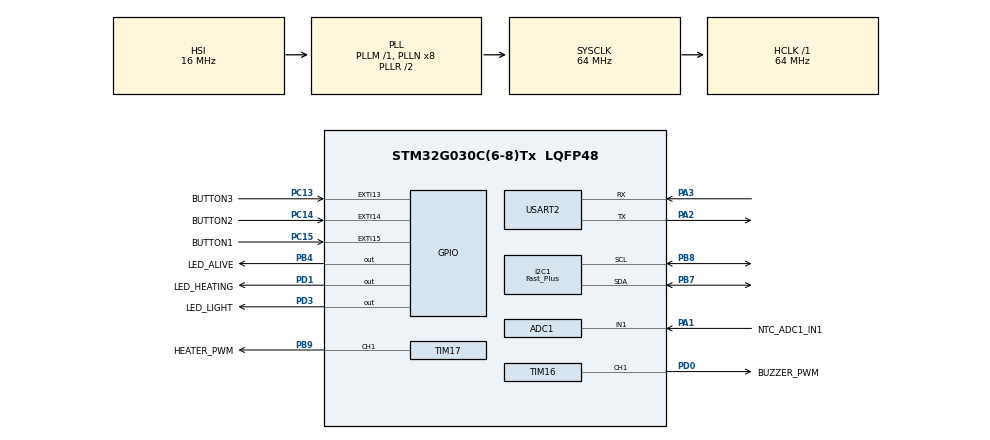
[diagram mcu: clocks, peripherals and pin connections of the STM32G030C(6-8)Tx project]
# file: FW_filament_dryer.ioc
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ADC1.Channel-0\#ChannelRegularConversion=ADC_CHANNEL_1
ADC1.ClockPrescaler=ADC_CLOCK_SYNC_PCLK_DIV2
ADC1.ContinuousConvMode=DISABLE
ADC1.NbrOfConversionFlag=1
ADC1.Rank-0\#ChannelRegularConversion=1
ADC1.SamplingTime-0\#ChannelRegularConversion=ADC_SAMPLINGTIME_COMMON_1
ADC1.SamplingTimeCommon1=ADC_SAMPLETIME_160CYCLES_5
ADC1.SamplingTimeCommon2=ADC_SAMPLETIME_160CYCLES_5
ADC1.SelectedChannel=ADC_CHANNEL_1
ADC1.master=1
I2C1.I2C_Speed_Mode=I2C_Fast_Plus
I2C1.Timing=0x00910B1C
Mcu.Family=STM32G0
Mcu.Name=STM32G030C(6-8)Tx
Mcu.Package=LQFP48
NVIC.EXTI4_15_IRQn=true\:0\:0\:false\:false\:true\:true\:true\:true
NVIC.TIM17_IRQn=true\:0\:0\:false\:false\:true\:true\:true\:true
NVIC.TIM3_IRQn=true\:0\:0\:false\:false\:true\:true\:true\:true
PA1.GPIO_Label=NTC_ADC1_IN1
PA1.Mode=IN1
PA1.Signal=ADC1_IN1
PA13.Mode=Serial_Wire
PA13.Signal=SYS_SWDIO
PA14-BOOT0.Mode=Serial_Wire
PA14-BOOT0.Signal=SYS_SWCLK
PA2.Mode=Asynchronous
PA2.Signal=USART2_TX
PA3.Mode=Asynchronous
PA3.Signal=USART2_RX
PB4.GPIO_Label=LED_ALIVE
PB4.Signal=GPIO_Output
PB7.Mode=I2C
PB7.Signal=I2C1_SDA
PB8.Mode=I2C
PB8.Signal=I2C1_SCL
PB9.GPIO_Label=HEATER_PWM
PB9.Signal=S_TIM17_CH1
PC13.GPIO_Label=BUTTON3
PC13.GPIO_ModeDefaultEXTI=GPIO_MODE_IT_RISING_FALLING
PC13.Signal=GPXTI13
PC14-OSC32_IN\ (PC14).GPIO_Label=BUTTON2
PC14-OSC32_IN\ (PC14).GPIO_ModeDefaultEXTI=GPIO_MODE_IT_RISING_FALLING
PC14-OSC32_IN\ (PC14).Signal=GPXTI14
PC15-OSC32_OUT\ (PC15).GPIO_Label=BUTTON1
PC15-OSC32_OUT\ (PC15).GPIO_ModeDefaultEXTI=GPIO_MODE_IT_RISING_FALLING
PC15-OSC32_OUT\ (PC15).Signal=GPXTI15
PD0.GPIO_Label=BUZZER_PWM
PD0.Signal=S_TIM16_CH1
PD1.GPIO_Label=LED_HEATING
PD1.Signal=GPIO_Output
PD3.GPIO_Label=LED_LIGHT
PD3.Signal=GPIO_Output
ProjectManager.HeapSize=0x200
ProjectManager.StackSize=0x400
ProjectManager.TargetToolchain=STM32CubeIDE
RCC.ADCFreq_Value=64000000
RCC.AHBFreq_Value=64000000
RCC.CortexFreq_Value=64000000
RCC.EXTERNAL_CLOCK_VALUE=12288000
RCC.HCLKFreq_Value=64000000
RCC.HSE_VALUE=8000000
RCC.HSI_VALUE=16000000
RCC.LSE_VALUE=32768
RCC.SYSCLKFreq_VALUE=64000000
RCC.SYSCLKSource=RCC_SYSCLKSOURCE_PLLCLK
RCC.VCOOutputFreq_Value=128000000
SH.S_TIM16_CH1.0=TIM16_CH1,PWM Generation1 CH1
SH.S_TIM17_CH1.0=TIM17_CH1,PWM Generation1 CH1
TIM16.Channel=TIM_CHANNEL_1
TIM16.Period=1000-1
TIM16.Prescaler=16-1
TIM17.Channel=TIM_CHANNEL_1
TIM17.Period=256-1
TIM17.Prescaler=64000-1
TIM3.Period=2000
TIM3.Prescaler=64000-1
USART2.VirtualMode-Asynchronous=VM_ASYNC
VP_TIM16_VS_ClockSourceINT.Mode=Enable_Timer
VP_TIM17_VS_ClockSourceINT.Mode=Enable_Timer
VP_TIM3_VS_ClockSourceINT.Mode=Internal
board=custom

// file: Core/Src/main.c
/* USER CODE BEGIN Header */
/**
 ******************************************************************************
 * @file           : main.c
 * @brief          : Main program body
 ******************************************************************************
 * @attention
 *
 * Copyright (c) 2025 STMicroelectronics.
 * All rights reserved.
 *
 * This software is licensed under terms that can be found in the LICENSE file
 * in the root directory of this software component.
 * If no LICENSE file comes with this software, it is provided AS-IS.
 *
 ******************************************************************************
 */
/* USER CODE END Header */
#include "main.h"
#include "adc.h"
#include "i2c.h"
#include "tim.h"
#include "usart.h"
#include "gpio.h"

/* USER CODE BEGIN Includes */
#include <string.h>

#include "MyCode/config.h"
#include "Libraries/Display/ssd1306.h"
#include "MyCode/display.h"
#include "Libraries/temperature.h"
#include "MyCode/materials.h"
#include "MyCode/buttons.h"
#include "MyCode/buzzer.h"
#include "MyCode/pid.h"
#include "MyCode/settings.h"
/* USER CODE END Includes */

/* USER CODE BEGIN PV */
/* TIMERS */
uint32_t timerLedAlive = 0;
uint32_t timerDisplayUpdate = 0;
uint32_t timerTempRead = 0;
uint32_t timerTimer = 10000; // not zero to make the first popup at the startup of the device

/* MENUS */
volatile uint8_t currentMenu = MENU_HOME; // active menu (starts with the home menu)

/* MATERIALS */
volatile uint8_t currentMaterialID;

/* TIMER */
volatile uint16_t minutesLeft = 0;	// 2h10m

/* TEMPERATURE CONTROL */
volatile float kp = 20.0f;
volatile float ki = 1.0f;
volatile float kd = 0.2f;
uint8_t runPid = 0;	// 1 if pid must be run
volatile uint8_t duty = 0;
volatile uint8_t heaterOn = 0;
/* USER CODE END PV */

void SystemClock_Config(void);

int main(void) {

	/* MCU Configuration--------------------------------------------------------*/

	/* Reset of all peripherals, Initializes the Flash interface and the Systick. */
	HAL_Init();

	/* Configure the system clock */
	SystemClock_Config();

	/* Initialize all configured peripherals */
	MX_GPIO_Init();
	MX_ADC1_Init();
	MX_I2C1_Init();
	MX_USART2_UART_Init();
	MX_TIM16_Init();
	MX_TIM3_Init();
	MX_TIM17_Init();
	/* USER CODE BEGIN 2 */
	/* -------------------------------- INITIALIZATIONS -------------------------------- */
	/* DISPLAY INIT*/
	ssd1306_Init();
	/* ADC INIT */
	HAL_Delay(50);
	HAL_ADCEx_Calibration_Start(&hadc1);
	HAL_Delay(50);
	HAL_ADC_Init(&hadc1);
	/* BUTTONS INIT */
	initButtons();
	/* UART INIT */
	HAL_UART_Init(&huart2);
	/* MATERIALS */
	MATERIAL_initMaterials();
	currentMaterialID = MATERIAL_ID_PLA;
	/* BUZZER INIT */
	HAL_TIM_Base_Init(&htim16);
	HAL_TIM_PWM_Start(&htim16, TIM_CHANNEL_1);
	TIM16->CCR1 = 0;
	/* HEATER INIT */
	HAL_TIM_Base_Init(&htim17);
	HAL_TIM_Base_Start_IT(&htim17);
	HAL_TIM_PWM_Start_IT(&htim17, TIM_CHANNEL_1);
	setDuty(0);
	/* INIT 500ms PID TIMER */
	HAL_TIM_Base_Init(&htim3);
	HAL_TIM_Base_Start_IT(&htim3);
	/* LOAD SETTINGS FROM EEPROM */
	HAL_Delay(2000);	// otherwise the serial debug will not work
	if (read_byte_eeprom(EEPROM_ISFIRSTBOOT_ADDRESS) != FIRST_TIME_EEPROM_VALUE) {// if this is the first time eeprom is written or is empty, write the default settings
		printString("First boot, or eeprom was empty\n");
		storeSettingsToEeprom(kp, ki, kd);	// store settings

		loadSettingsFromEeprom(&kp, &ki, &kd);	// than read settings for a check
		uint8_t message[100];
		sprintf(message, "Stored default kp, ki, kd value (%f, %f, %f)\n", kp, ki, kd);
		printString(message);
		write_byte_eeprom(EEPROM_ISFIRSTBOOT_ADDRESS, FIRST_TIME_EEPROM_VALUE);
		printString("Now the eeprom was initialized the first time\n");
	} else {
		loadSettingsFromEeprom(&kp, &ki, &kd);
		uint8_t message[100];
		sprintf(message, "Loaded kp, ki, kd value from eeprom (%f, %f, %f)\n", kp, ki, kd);
		printString(message);
	}

	/* USER CODE END 2 */

	/* Infinite loop */
	/* USER CODE BEGIN WHILE */
	while (1) {
		/* BUTTON CODE */
		uint8_t relase = BUTTONS_tick();

		/* TEMPERATURE CODE */
		float realTemp = getTemperature();	// caluclate the real temp

		/* TIMER CHECK */
		if (minutesLeft <= 0) {
			minutesLeft = 0;
			heaterOn = 0;
			// make some noise, repeat for some time than do nothing !!! NOISE MADE ON THE PERIOD ROUTIN !!!
		} else {
			heaterOn = 1;
		}

		if (heaterOn) {
			HAL_GPIO_WritePin(LED_LIGHT_GPIO_Port, LED_LIGHT_Pin, 1);	// turn on the light
			if (runPid) {	// run the pid control every 500ms
				duty = pid_control(kp, ki, kd, MATERIAL_getMaterialTargetTemp(currentMaterialID), realTemp, UINT8_MAX);
				setDuty(duty);
				runPid = 0;
			}
		} else {
			HAL_GPIO_WritePin(LED_LIGHT_GPIO_Port, LED_LIGHT_Pin, 0); // turn off the light
			duty = 0;
			setDuty(duty);
		}

		/* USER CODE END WHILE */

		/* USER CODE BEGIN 3 */

		/* DISPLAY UPDATE */
		if (HAL_GetTick() - timerTimer >= MINUTES_STEP * 60 * 1000) {
			//if (HAL_GetTick() - timerTimer >= 10000) {// decrement every 10seconds for testing
			if (minutesLeft - MINUTES_STEP == 0 || minutesLeft <= 0) {
				minutesLeft = 0;
				// display the popup
				ssd1306_Fill(Black);
				DISPLAY_PrintStrLarge("TIME OVER", 14, 0);
				DISPLAY_PrintStrMedium("Set new time!", 18, 22);
				ssd1306_UpdateScreen();
				// make some sound
				BUZZER_shortPressBeep();
				BUZZER_shortPressBeep();
				HAL_Delay(200);
				BUZZER_shortPressBeep();
				BUZZER_shortPressBeep();
				HAL_Delay(200);
				BUZZER_shortPressBeep();
				BUZZER_shortPressBeep();
				HAL_Delay(200);
				BUZZER_shortPressBeep();
				BUZZER_shortPressBeep();
				HAL_Delay(1000);
				BUZZER_shortPressBeep();
				BUZZER_shortPressBeep();
				HAL_Delay(200);
				BUZZER_shortPressBeep();
				BUZZER_shortPressBeep();
				HAL_Delay(200);
				BUZZER_shortPressBeep();
				BUZZER_shortPressBeep();
				HAL_Delay(200);
				BUZZER_shortPressBeep();
				BUZZER_shortPressBeep();
				HAL_Delay(1000);
			} else {
				minutesLeft -= MINUTES_STEP;
				BUZZER_longPressBeep();
			}
			timerTimer = HAL_GetTick();
		}
		if (HAL_GetTick() - timerDisplayUpdate >= 1000 / DISPLAY_FPS) {
			DISPLAY_drawMenu(currentMenu, currentMaterialID, realTemp, minutesLeft, duty);

			if (relase) {
				DISPLAY_PrintStrSmall("RELASE", 50, 24);
			}

			ssd1306_UpdateScreen();
			timerDisplayUpdate = HAL_GetTick();
		}
		/* LED ALIVE BLINK */
		if (HAL_GetTick() - timerLedAlive >= LED_ALIVE_FLASHING_PERIOD / 2) {
			HAL_GPIO_TogglePin(LED_ALIVE_GPIO_Port, LED_ALIVE_Pin);
			timerLedAlive = HAL_GetTick();
		}
	}
	/* USER CODE END 3 */
}

void SystemClock_Config(void) {
	RCC_OscInitTypeDef RCC_OscInitStruct = { 0 };
	RCC_ClkInitTypeDef RCC_ClkInitStruct = { 0 };

	/** Configure the main internal regulator output voltage
	 */
	HAL_PWREx_ControlVoltageScaling(PWR_REGULATOR_VOLTAGE_SCALE1);

	/** Initializes the RCC Oscillators according to the specified parameters
	 * in the RCC_OscInitTypeDef structure.
	 */
	RCC_OscInitStruct.OscillatorType = RCC_OSCILLATORTYPE_HSI;
	RCC_OscInitStruct.HSIState = RCC_HSI_ON;
	RCC_OscInitStruct.HSIDiv = RCC_HSI_DIV1;
	RCC_OscInitStruct.HSICalibrationValue = RCC_HSICALIBRATION_DEFAULT;
	RCC_OscInitStruct.PLL.PLLState = RCC_PLL_ON;
	RCC_OscInitStruct.PLL.PLLSource = RCC_PLLSOURCE_HSI;
	RCC_OscInitStruct.PLL.PLLM = RCC_PLLM_DIV1;
	RCC_OscInitStruct.PLL.PLLN = 8;
	RCC_OscInitStruct.PLL.PLLP = RCC_PLLP_DIV2;
	RCC_OscInitStruct.PLL.PLLR = RCC_PLLR_DIV2;
	if (HAL_RCC_OscConfig(&RCC_OscInitStruct) != HAL_OK) {
		Error_Handler();
	}

	/** Initializes the CPU, AHB and APB buses clocks
	 */
	RCC_ClkInitStruct.ClockType = RCC_CLOCKTYPE_HCLK | RCC_CLOCKTYPE_SYSCLK | RCC_CLOCKTYPE_PCLK1;
	RCC_ClkInitStruct.SYSCLKSource = RCC_SYSCLKSOURCE_PLLCLK;
	RCC_ClkInitStruct.AHBCLKDivider = RCC_SYSCLK_DIV1;
	RCC_ClkInitStruct.APB1CLKDivider = RCC_HCLK_DIV1;

	if (HAL_RCC_ClockConfig(&RCC_ClkInitStruct, FLASH_LATENCY_2) != HAL_OK) {
		Error_Handler();
	}
}

/* USER CODE BEGIN 4 */
void HAL_TIM_PeriodElapsedCallback(TIM_HandleTypeDef *htim) {
	if (htim == &htim3) {
		runPid = 1;
	}
	if (htim == &htim17) {
		if (duty != 0 && currentMenu != MENU_AUTOCAL_1) {
			HAL_GPIO_WritePin(LED_HEATING_GPIO_Port, LED_HEATING_Pin, 1);
		}
	}
}

void HAL_TIM_PWM_PulseFinishedCallback(TIM_HandleTypeDef *htim) {
	if (htim == &htim17) {
		if (currentMenu != MENU_AUTOCAL_1) {
			HAL_GPIO_WritePin(LED_HEATING_GPIO_Port, LED_HEATING_Pin, 0);
		}

	}
}
void printString(char *str) {
	HAL_UART_Transmit(&huart2, str, strlen(str), HAL_MAX_DELAY);
}
/* USER CODE END 4 */

void Error_Handler(void) {
	__disable_irq();
	while (1) {
	}
}
